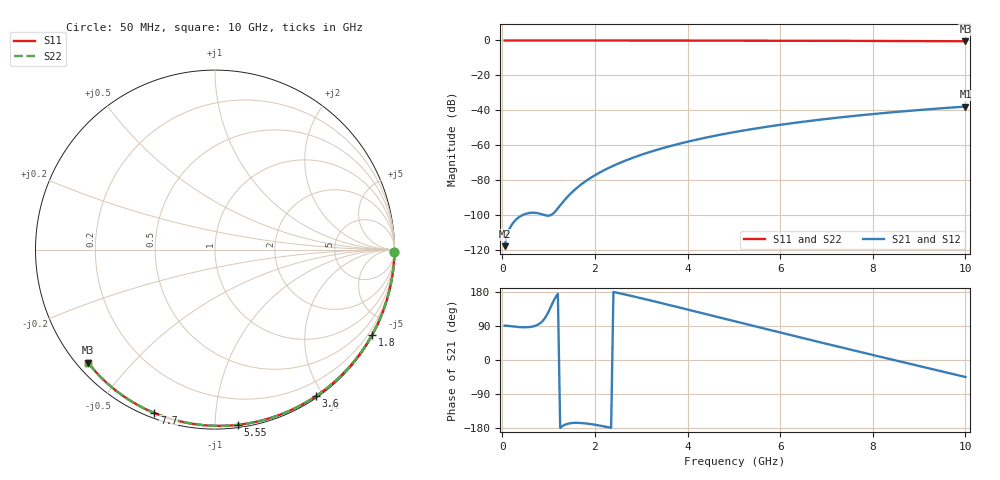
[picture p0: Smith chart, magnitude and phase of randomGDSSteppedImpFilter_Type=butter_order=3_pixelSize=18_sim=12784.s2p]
! freq	dB(S11)	phase(S11)	dB(S12)	phase(S12)
!  dB(S21)	phase(S21)	dB(S22)	phase(S22)
!S-par simulation data
#  GHz  S  DB  R 50
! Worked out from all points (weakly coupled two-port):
!   200 points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, 50 MHz to 10 GHz, reference 50 ohm
!   highest |S21| = -37.86 dB at 10 GHz (marker M1); lowest = -117.8 dB at 50 MHz (marker M2)
!   lowest |S11| = -0.5 dB at 10 GHz (marker M3), VSWR 36.93, Z = 1.55 - j19 ohm
!   |S11| at or under -10 dB: nowhere
!   |S22| runs from -0.5 to 0.0 dB; largest |S21 - S12| = 0
!   S11 on the Smith chart (normalised r, x): 50 MHz: open; 1.8 GHz: 0.03, -3.96; 3.6 GHz: 0.02, -1.90; 5.55 GHz: 0.02, -1.14; 7.7 GHz: 0.02, -0.70; 10 GHz: 0.03, -0.38
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0.05  -0.00 -0.8  -117.79 90.5  -117.79 90.5  -0.00 -0.8
0.45  -0.01 -7.2  -99.82 86.4  -99.82 86.4  -0.01 -7.2
0.9  -0.02 -14.3  -99.89 107.1  -99.89 107.1  -0.02 -14.3
1.75  -0.04 -27.6  -81.52 -166.7  -81.52 -166.7  -0.04 -27.6
1.8  -0.04 -28.4  -80.57 -167.4  -80.57 -167.4  -0.04 -28.4
1.85  -0.04 -29.1  -79.67 -168.1  -79.67 -168.1  -0.04 -29.1
2.05  -0.04 -32.2  -76.42 -171.9  -76.42 -171.9  -0.04 -32.2
2.25  -0.05 -35.3  -73.60 -176.5  -73.60 -176.5  -0.05 -35.3
2.55  -0.05 -39.8  -69.97 175.7  -69.97 175.7  -0.05 -39.8
2.95  -0.06 -45.8  -65.93 164.4  -65.93 164.4  -0.06 -45.8
3.4  -0.07 -52.5  -62.15 151.2  -62.15 151.2  -0.07 -52.5
3.6  -0.07 -55.4  -60.67 145.3  -60.67 145.3  -0.07 -55.4
3.9  -0.08 -59.8  -58.62 136.2  -58.62 136.2  -0.08 -59.8
4.3  -0.09 -65.5  -56.18 124.1  -56.18 124.1  -0.09 -65.5
5.05  -0.12 -75.9  -52.29 101.3  -52.29 101.3  -0.12 -75.9
5.55  -0.14 -82.7  -50.08 86.2  -50.08 86.2  -0.14 -82.7
6.1  -0.16 -90.0  -47.93 69.6  -47.93 69.6  -0.16 -90.0
6.7  -0.19 -97.7  -45.86 51.6  -45.86 51.6  -0.19 -97.7
7.7  -0.25 -110.4  -42.93 22.0  -42.93 22.0  -0.25 -110.4
8.35  -0.30 -118.4  -41.29 3.0  -41.29 3.0  -0.30 -118.4
9.2  -0.38 -128.7  -39.41 -21.7  -39.41 -21.7  -0.38 -128.7
10  -0.47 -138.3  -37.86 -44.9  -37.86 -44.9  -0.47 -138.3
